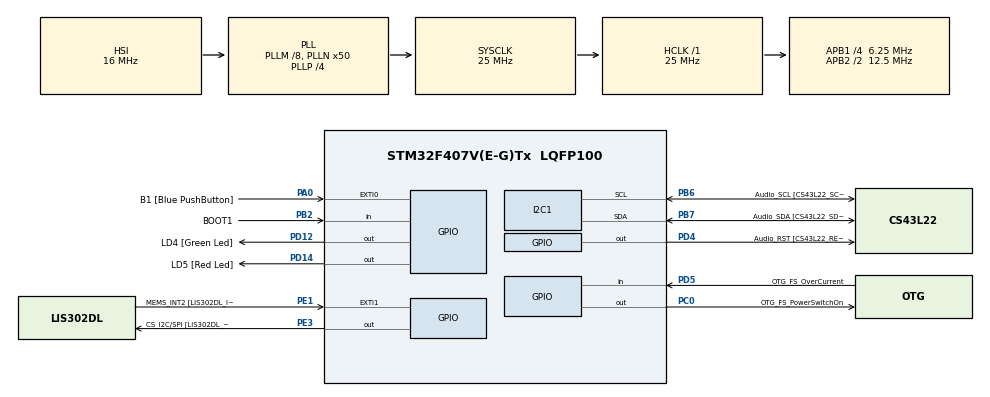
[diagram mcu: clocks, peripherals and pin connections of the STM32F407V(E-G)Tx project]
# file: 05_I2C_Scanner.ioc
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Mcu.Family=STM32F4
Mcu.Name=STM32F407V(E-G)Tx
Mcu.Package=LQFP100
NVIC.PriorityGroup=NVIC_PRIORITYGROUP_0
PA0-WKUP.GPIO_Label=B1 [Blue PushButton]
PA0-WKUP.Signal=GPXTI0
PA10.GPIO_Label=OTG_FS_ID
PA10.GPIO_Mode=GPIO_MODE_AF_PP
PA10.GPIO_PuPd=GPIO_NOPULL
PA10.GPIO_Speed=GPIO_SPEED_FREQ_LOW
PA10.Signal=USB_OTG_FS_ID
PA11.GPIO_Label=OTG_FS_DM
PA11.GPIO_Mode=GPIO_MODE_AF_PP
PA11.GPIO_PuPd=GPIO_NOPULL
PA11.GPIO_Speed=GPIO_SPEED_FREQ_LOW
PA11.Signal=USB_OTG_FS_DM
PA12.GPIO_Label=OTG_FS_DP
PA12.GPIO_Mode=GPIO_MODE_AF_PP
PA12.GPIO_PuPd=GPIO_NOPULL
PA12.GPIO_Speed=GPIO_SPEED_FREQ_LOW
PA12.Signal=USB_OTG_FS_DP
PA13.GPIO_Label=SWDIO
PA13.Signal=SYS_JTMS-SWDIO
PA14.GPIO_Label=SWCLK
PA14.Signal=SYS_JTCK-SWCLK
PA4.GPIO_Label=I2S3_WS [CS43L22_LRCK]
PA4.GPIO_Mode=GPIO_MODE_AF_PP
PA4.GPIO_PuPd=GPIO_NOPULL
PA4.GPIO_Speed=GPIO_SPEED_FREQ_LOW
PA4.Signal=I2S3_WS
PA5.GPIO_Label=SPI1_SCK [LIS302DL_SCL/SPC]
PA5.GPIO_Mode=GPIO_MODE_AF_PP
PA5.GPIO_PuPd=GPIO_NOPULL
PA5.GPIO_Speed=GPIO_SPEED_FREQ_LOW
PA5.Signal=SPI1_SCK
PA6.GPIO_Label=SPI1_MISO [LIS302DL_SDO]
PA6.GPIO_Mode=GPIO_MODE_AF_PP
PA6.GPIO_PuPd=GPIO_NOPULL
PA6.GPIO_Speed=GPIO_SPEED_FREQ_LOW
PA6.Signal=SPI1_MISO
PA7.GPIO_Label=SPI1_MOSI [LIS302DL_SDA/SDI/SDO]
PA7.GPIO_Mode=GPIO_MODE_AF_PP
PA7.GPIO_PuPd=GPIO_NOPULL
PA7.GPIO_Speed=GPIO_SPEED_FREQ_LOW
PA7.Signal=SPI1_MOSI
PA9.GPIO_Label=VBUS_FS
PA9.GPIO_Mode=GPIO_MODE_INPUT
PA9.GPIO_PuPd=GPIO_NOPULL
PA9.Signal=USB_OTG_FS_VBUS
PB10.GPIO_Label=CLK_IN [MP45DT02_CLK]
PB10.GPIO_Mode=GPIO_MODE_AF_PP
PB10.GPIO_PuPd=GPIO_NOPULL
PB10.GPIO_Speed=GPIO_SPEED_FREQ_LOW
PB10.Signal=I2S2_CK
PB2.GPIO_Label=BOOT1
PB2.GPIO_Mode=GPIO_MODE_INPUT
PB2.GPIO_PuPd=GPIO_NOPULL
PB2.Signal=GPIO_Input
PB3.GPIO_Label=SWO
PB3.Signal=SYS_JTDO-SWO
PB6.GPIO_Label=Audio_SCL [CS43L22_SCL]
PB6.GPIO_Mode=GPIO_MODE_AF_OD
PB6.GPIO_PuPd=GPIO_NOPULL
PB6.GPIO_Speed=GPIO_SPEED_FREQ_LOW
PB6.Mode=I2C
PB6.Signal=I2C1_SCL
PB7.GPIO_Label=Audio_SDA [CS43L22_SDA]
PB7.GPIO_Mode=GPIO_MODE_AF_OD
PB7.GPIO_Speed=GPIO_SPEED_FREQ_LOW
PB7.Mode=I2C
PB7.Signal=I2C1_SDA
PC0.GPIO_Label=OTG_FS_PowerSwitchOn
PC0.GPIO_PuPd=GPIO_NOPULL
PC0.GPIO_Speed=GPIO_SPEED_FREQ_LOW
PC0.PinState=GPIO_PIN_SET
PC0.Signal=GPIO_Output
PC10.GPIO_Label=I2S3_SCK [CS43L22_SCLK]
PC10.GPIO_Mode=GPIO_MODE_AF_PP
PC10.GPIO_PuPd=GPIO_NOPULL
PC10.GPIO_Speed=GPIO_SPEED_FREQ_LOW
PC10.Signal=I2S3_CK
PC12.GPIO_Label=I2S3_SD [CS43L22_SDIN]
PC12.GPIO_Mode=GPIO_MODE_AF_PP
PC12.GPIO_PuPd=GPIO_NOPULL
PC12.GPIO_Speed=GPIO_SPEED_FREQ_LOW
PC12.Signal=I2S3_SD
PC14-OSC32_IN.GPIO_Label=PC14-OSC32_IN
PC14-OSC32_IN.Signal=RCC_OSC32_IN
PC15-OSC32_OUT.GPIO_Label=PC15-OSC32_OUT
PC15-OSC32_OUT.Signal=RCC_OSC32_OUT
PC3.GPIO_Label=PDM_OUT [MP45DT02_DOUT]
PC3.GPIO_Mode=GPIO_MODE_AF_PP
PC3.GPIO_PuPd=GPIO_NOPULL
PC3.GPIO_Speed=GPIO_SPEED_FREQ_LOW
PC3.Signal=I2S2_SD
PC7.GPIO_Label=I2S3_MCK [CS43L22_MCLK]
PC7.GPIO_Mode=GPIO_MODE_AF_PP
PC7.GPIO_PuPd=GPIO_NOPULL
PC7.GPIO_Speed=GPIO_SPEED_FREQ_LOW
PC7.Signal=I2S3_MCK
PD12.GPIO_Label=LD4 [Green Led]
PD12.GPIO_PuPd=GPIO_NOPULL
PD12.GPIO_Speed=GPIO_SPEED_FREQ_LOW
PD12.Signal=GPIO_Output
PD14.GPIO_Label=LD5 [Red Led]
PD14.GPIO_PuPd=GPIO_NOPULL
PD14.GPIO_Speed=GPIO_SPEED_FREQ_LOW
PD14.Signal=GPIO_Output
PD4.GPIO_Label=Audio_RST [CS43L22_RESET]
PD4.GPIO_PuPd=GPIO_NOPULL
PD4.GPIO_Speed=GPIO_SPEED_FREQ_LOW
PD4.Signal=GPIO_Output
PD5.GPIO_Label=OTG_FS_OverCurrent
PD5.GPIO_Mode=GPIO_MODE_INPUT
PD5.GPIO_PuPd=GPIO_NOPULL
PD5.Signal=GPIO_Input
PE1.GPIO_Label=MEMS_INT2 [LIS302DL_INT2]
PE1.GPIO_ModeDefaultEXTI=GPIO_MODE_EVT_RISING
PE1.GPIO_PuPd=GPIO_NOPULL
PE1.Signal=GPXTI1
PE3.GPIO_Label=CS_I2C/SPI [LIS302DL_CS_I2C/SPI]
PE3.GPIO_PuPd=GPIO_NOPULL
PE3.GPIO_Speed=GPIO_SPEED_FREQ_LOW
PE3.Signal=GPIO_Output
PH0-OSC_IN.GPIO_Label=PH0-OSC_IN
PH0-OSC_IN.Mode=HSE-External-Oscillator
PH0-OSC_IN.Signal=RCC_OSC_IN
PH1-OSC_OUT.GPIO_Label=PH1-OSC_OUT
PH1-OSC_OUT.Mode=HSE-External-Oscillator
PH1-OSC_OUT.Signal=RCC_OSC_OUT
ProjectManager.HeapSize=0x200
ProjectManager.StackSize=0x400
ProjectManager.TargetToolchain=STM32CubeIDE
RCC.48MHZClocksFreq_Value=14285714.285714285
RCC.AHBFreq_Value=25000000
RCC.APB1CLKDivider=RCC_HCLK_DIV4
RCC.APB1Freq_Value=6250000
RCC.APB1TimFreq_Value=12500000
RCC.APB2CLKDivider=RCC_HCLK_DIV2
RCC.APB2Freq_Value=12500000
RCC.APB2TimFreq_Value=25000000
RCC.CortexFreq_Value=25000000
RCC.HCLKFreq_Value=25000000
RCC.HSE_VALUE=8000000
RCC.HSI_VALUE=16000000
RCC.LSE_VALUE=32768
RCC.PLLM=8
RCC.PLLN=50
RCC.PLLP=RCC_PLLP_DIV4
RCC.PLLQ=7
RCC.SYSCLKFreq_VALUE=25000000
RCC.SYSCLKSource=RCC_SYSCLKSOURCE_PLLCLK
RCC.VCOOutputFreq_Value=100000000
board=STM32F407G-DISC1

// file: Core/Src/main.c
/* USER CODE BEGIN Header */
/**
  ******************************************************************************
  * @file           : main.c
  * @brief          : Main program body
  ******************************************************************************
  * @attention
  *
  * Copyright (c) 2026 STMicroelectronics.
  * All rights reserved.
  *
  * This software is licensed under terms that can be found in the LICENSE file
  * in the root directory of this software component.
  * If no LICENSE file comes with this software, it is provided AS-IS.
  *
  ******************************************************************************
  */
/* USER CODE END Header */
#include "main.h"

/* USER CODE BEGIN Includes */
#include "ssd1306.h"
/* USER CODE END Includes */

I2C_HandleTypeDef hi2c1;

void SystemClock_Config(void);
static void MX_GPIO_Init(void);
static void MX_I2C1_Init(void);
/* USER CODE BEGIN PFP */
uint8_t I2C_CheckDevice(uint8_t addr);
/* USER CODE END PFP */

/* USER CODE BEGIN 0 */
static void error_halt(void)
{
    HAL_GPIO_WritePin(GPIOD, GPIO_PIN_14, GPIO_PIN_SET);
    while (1) {
    }
}
/* USER CODE END 0 */

int main(void)
{

  /* MCU Configuration--------------------------------------------------------*/

  /* Reset of all peripherals, Initializes the Flash interface and the Systick. */
  HAL_Init();

  /* Configure the system clock */
  SystemClock_Config();

  /* Initialize all configured peripherals */
  MX_GPIO_Init();
  MX_I2C1_Init();
  /* USER CODE BEGIN 2 */
  if (ssd1306_init(&hi2c1) != HAL_OK) {
      error_halt();
  }
  /* Тест 1: весь экран белый на 2 секунды */
  ssd1306_fill(1);
  if (ssd1306_update() != HAL_OK) {
      error_halt();
  }
  HAL_Delay(2000);

  /* Тест 2: четыре точки в углах */
  ssd1306_fill(0);
  ssd1306_set_pixel(0,   0,  1);
  ssd1306_set_pixel(127, 0,  1);
  ssd1306_set_pixel(0,   63, 1);
  ssd1306_set_pixel(127, 63, 1);
  if (ssd1306_update() != HAL_OK) {
      error_halt();
  }

  /* USER CODE END 2 */

  /* Infinite loop */
  while (1)
  {

    /* USER CODE BEGIN 3 */
	  HAL_GPIO_TogglePin(GPIOD, GPIO_PIN_12);
	  HAL_Delay(500);
  }
  /* USER CODE END 3 */
}

void SystemClock_Config(void)
{
  RCC_OscInitTypeDef RCC_OscInitStruct = {0};
  RCC_ClkInitTypeDef RCC_ClkInitStruct = {0};

  /** Configure the main internal regulator output voltage
  */
  __HAL_RCC_PWR_CLK_ENABLE();
  __HAL_PWR_VOLTAGESCALING_CONFIG(PWR_REGULATOR_VOLTAGE_SCALE1);

  /** Initializes the RCC Oscillators according to the specified parameters
  * in the RCC_OscInitTypeDef structure.
  */
  RCC_OscInitStruct.OscillatorType = RCC_OSCILLATORTYPE_HSI;
  RCC_OscInitStruct.HSIState = RCC_HSI_ON;
  RCC_OscInitStruct.HSICalibrationValue = RCC_HSICALIBRATION_DEFAULT;
  RCC_OscInitStruct.PLL.PLLState = RCC_PLL_ON;
  RCC_OscInitStruct.PLL.PLLSource = RCC_PLLSOURCE_HSI;
  RCC_OscInitStruct.PLL.PLLM = 8;
  RCC_OscInitStruct.PLL.PLLN = 50;
  RCC_OscInitStruct.PLL.PLLP = RCC_PLLP_DIV4;
  RCC_OscInitStruct.PLL.PLLQ = 7;
  if (HAL_RCC_OscConfig(&RCC_OscInitStruct) != HAL_OK)
  {
    Error_Handler();
  }

  /** Initializes the CPU, AHB and APB buses clocks
  */
  RCC_ClkInitStruct.ClockType = RCC_CLOCKTYPE_HCLK|RCC_CLOCKTYPE_SYSCLK
                              |RCC_CLOCKTYPE_PCLK1|RCC_CLOCKTYPE_PCLK2;
  RCC_ClkInitStruct.SYSCLKSource = RCC_SYSCLKSOURCE_PLLCLK;
  RCC_ClkInitStruct.AHBCLKDivider = RCC_SYSCLK_DIV1;
  RCC_ClkInitStruct.APB1CLKDivider = RCC_HCLK_DIV4;
  RCC_ClkInitStruct.APB2CLKDivider = RCC_HCLK_DIV2;

  if (HAL_RCC_ClockConfig(&RCC_ClkInitStruct, FLASH_LATENCY_0) != HAL_OK)
  {
    Error_Handler();
  }
}

static void MX_I2C1_Init(void)
{

  hi2c1.Instance = I2C1;
  hi2c1.Init.ClockSpeed = 100000;
  hi2c1.Init.DutyCycle = I2C_DUTYCYCLE_2;
  hi2c1.Init.OwnAddress1 = 0;
  hi2c1.Init.AddressingMode = I2C_ADDRESSINGMODE_7BIT;
  hi2c1.Init.DualAddressMode = I2C_DUALADDRESS_DISABLE;
  hi2c1.Init.OwnAddress2 = 0;
  hi2c1.Init.GeneralCallMode = I2C_GENERALCALL_DISABLE;
  hi2c1.Init.NoStretchMode = I2C_NOSTRETCH_DISABLE;
  if (HAL_I2C_Init(&hi2c1) != HAL_OK)
  {
    Error_Handler();
  }

}

static void MX_GPIO_Init(void)
{
  GPIO_InitTypeDef GPIO_InitStruct = {0};

  /* GPIO Ports Clock Enable */
  __HAL_RCC_GPIOE_CLK_ENABLE();
  __HAL_RCC_GPIOC_CLK_ENABLE();
  __HAL_RCC_GPIOH_CLK_ENABLE();
  __HAL_RCC_GPIOA_CLK_ENABLE();
  __HAL_RCC_GPIOB_CLK_ENABLE();
  __HAL_RCC_GPIOD_CLK_ENABLE();

  /*Configure GPIO pin Output Level */
  HAL_GPIO_WritePin(CS_I2C_SPI_GPIO_Port, CS_I2C_SPI_Pin, GPIO_PIN_RESET);

  /*Configure GPIO pin Output Level */
  HAL_GPIO_WritePin(OTG_FS_PowerSwitchOn_GPIO_Port, OTG_FS_PowerSwitchOn_Pin, GPIO_PIN_SET);

  /*Configure GPIO pin Output Level */
  HAL_GPIO_WritePin(GPIOD, LD4_Pin|LD5_Pin|Audio_RST_Pin, GPIO_PIN_RESET);

  /*Configure GPIO pin : CS_I2C_SPI_Pin */
  GPIO_InitStruct.Pin = CS_I2C_SPI_Pin;
  GPIO_InitStruct.Mode = GPIO_MODE_OUTPUT_PP;
  GPIO_InitStruct.Pull = GPIO_NOPULL;
  GPIO_InitStruct.Speed = GPIO_SPEED_FREQ_LOW;
  HAL_GPIO_Init(CS_I2C_SPI_GPIO_Port, &GPIO_InitStruct);

  /*Configure GPIO pin : OTG_FS_PowerSwitchOn_Pin */
  GPIO_InitStruct.Pin = OTG_FS_PowerSwitchOn_Pin;
  GPIO_InitStruct.Mode = GPIO_MODE_OUTPUT_PP;
  GPIO_InitStruct.Pull = GPIO_NOPULL;
  GPIO_InitStruct.Speed = GPIO_SPEED_FREQ_LOW;
  HAL_GPIO_Init(OTG_FS_PowerSwitchOn_GPIO_Port, &GPIO_InitStruct);

  /*Configure GPIO pin : PDM_OUT_Pin */
  GPIO_InitStruct.Pin = PDM_OUT_Pin;
  GPIO_InitStruct.Mode = GPIO_MODE_AF_PP;
  GPIO_InitStruct.Pull = GPIO_NOPULL;
  GPIO_InitStruct.Speed = GPIO_SPEED_FREQ_LOW;
  GPIO_InitStruct.Alternate = GPIO_AF5_SPI2;
  HAL_GPIO_Init(PDM_OUT_GPIO_Port, &GPIO_InitStruct);

  /*Configure GPIO pin : B1_Pin */
  GPIO_InitStruct.Pin = B1_Pin;
  GPIO_InitStruct.Mode = GPIO_MODE_IT_RISING;
  GPIO_InitStruct.Pull = GPIO_NOPULL;
  HAL_GPIO_Init(B1_GPIO_Port, &GPIO_InitStruct);

  /*Configure GPIO pin : I2S3_WS_Pin */
  GPIO_InitStruct.Pin = I2S3_WS_Pin;
  GPIO_InitStruct.Mode = GPIO_MODE_AF_PP;
  GPIO_InitStruct.Pull = GPIO_NOPULL;
  GPIO_InitStruct.Speed = GPIO_SPEED_FREQ_LOW;
  GPIO_InitStruct.Alternate = GPIO_AF6_SPI3;
  HAL_GPIO_Init(I2S3_WS_GPIO_Port, &GPIO_InitStruct);

  /*Configure GPIO pins : SPI1_SCK_Pin SPI1_MISO_Pin SPI1_MOSI_Pin */
  GPIO_InitStruct.Pin = SPI1_SCK_Pin|SPI1_MISO_Pin|SPI1_MOSI_Pin;
  GPIO_InitStruct.Mode = GPIO_MODE_AF_PP;
  GPIO_InitStruct.Pull = GPIO_NOPULL;
  GPIO_InitStruct.Speed = GPIO_SPEED_FREQ_LOW;
  GPIO_InitStruct.Alternate = GPIO_AF5_SPI1;
  HAL_GPIO_Init(GPIOA, &GPIO_InitStruct);

  /*Configure GPIO pin : BOOT1_Pin */
  GPIO_InitStruct.Pin = BOOT1_Pin;
  GPIO_InitStruct.Mode = GPIO_MODE_INPUT;
  GPIO_InitStruct.Pull = GPIO_NOPULL;
  HAL_GPIO_Init(BOOT1_GPIO_Port, &GPIO_InitStruct);

  /*Configure GPIO pin : CLK_IN_Pin */
  GPIO_InitStruct.Pin = CLK_IN_Pin;
  GPIO_InitStruct.Mode = GPIO_MODE_AF_PP;
  GPIO_InitStruct.Pull = GPIO_NOPULL;
  GPIO_InitStruct.Speed = GPIO_SPEED_FREQ_LOW;
  GPIO_InitStruct.Alternate = GPIO_AF5_SPI2;
  HAL_GPIO_Init(CLK_IN_GPIO_Port, &GPIO_InitStruct);

  /*Configure GPIO pins : LD4_Pin LD5_Pin Audio_RST_Pin */
  GPIO_InitStruct.Pin = LD4_Pin|LD5_Pin|Audio_RST_Pin;
  GPIO_InitStruct.Mode = GPIO_MODE_OUTPUT_PP;
  GPIO_InitStruct.Pull = GPIO_NOPULL;
  GPIO_InitStruct.Speed = GPIO_SPEED_FREQ_LOW;
  HAL_GPIO_Init(GPIOD, &GPIO_InitStruct);

  /*Configure GPIO pins : I2S3_MCK_Pin I2S3_SCK_Pin I2S3_SD_Pin */
  GPIO_InitStruct.Pin = I2S3_MCK_Pin|I2S3_SCK_Pin|I2S3_SD_Pin;
  GPIO_InitStruct.Mode = GPIO_MODE_AF_PP;
  GPIO_InitStruct.Pull = GPIO_NOPULL;
  GPIO_InitStruct.Speed = GPIO_SPEED_FREQ_LOW;
  GPIO_InitStruct.Alternate = GPIO_AF6_SPI3;
  HAL_GPIO_Init(GPIOC, &GPIO_InitStruct);

  /*Configure GPIO pin : VBUS_FS_Pin */
  GPIO_InitStruct.Pin = VBUS_FS_Pin;
  GPIO_InitStruct.Mode = GPIO_MODE_INPUT;
  GPIO_InitStruct.Pull = GPIO_NOPULL;
  HAL_GPIO_Init(VBUS_FS_GPIO_Port, &GPIO_InitStruct);

  /*Configure GPIO pins : OTG_FS_ID_Pin OTG_FS_DM_Pin OTG_FS_DP_Pin */
  GPIO_InitStruct.Pin = OTG_FS_ID_Pin|OTG_FS_DM_Pin|OTG_FS_DP_Pin;
  GPIO_InitStruct.Mode = GPIO_MODE_AF_PP;
  GPIO_InitStruct.Pull = GPIO_NOPULL;
  GPIO_InitStruct.Speed = GPIO_SPEED_FREQ_LOW;
  GPIO_InitStruct.Alternate = GPIO_AF10_OTG_FS;
  HAL_GPIO_Init(GPIOA, &GPIO_InitStruct);

  /*Configure GPIO pin : OTG_FS_OverCurrent_Pin */
  GPIO_InitStruct.Pin = OTG_FS_OverCurrent_Pin;
  GPIO_InitStruct.Mode = GPIO_MODE_INPUT;
  GPIO_InitStruct.Pull = GPIO_NOPULL;
  HAL_GPIO_Init(OTG_FS_OverCurrent_GPIO_Port, &GPIO_InitStruct);

  /*Configure GPIO pin : MEMS_INT2_Pin */
  GPIO_InitStruct.Pin = MEMS_INT2_Pin;
  GPIO_InitStruct.Mode = GPIO_MODE_EVT_RISING;
  GPIO_InitStruct.Pull = GPIO_NOPULL;
  HAL_GPIO_Init(MEMS_INT2_GPIO_Port, &GPIO_InitStruct);

}

void Error_Handler(void)
{
  __disable_irq();
  while (1)
  {
  }
}
